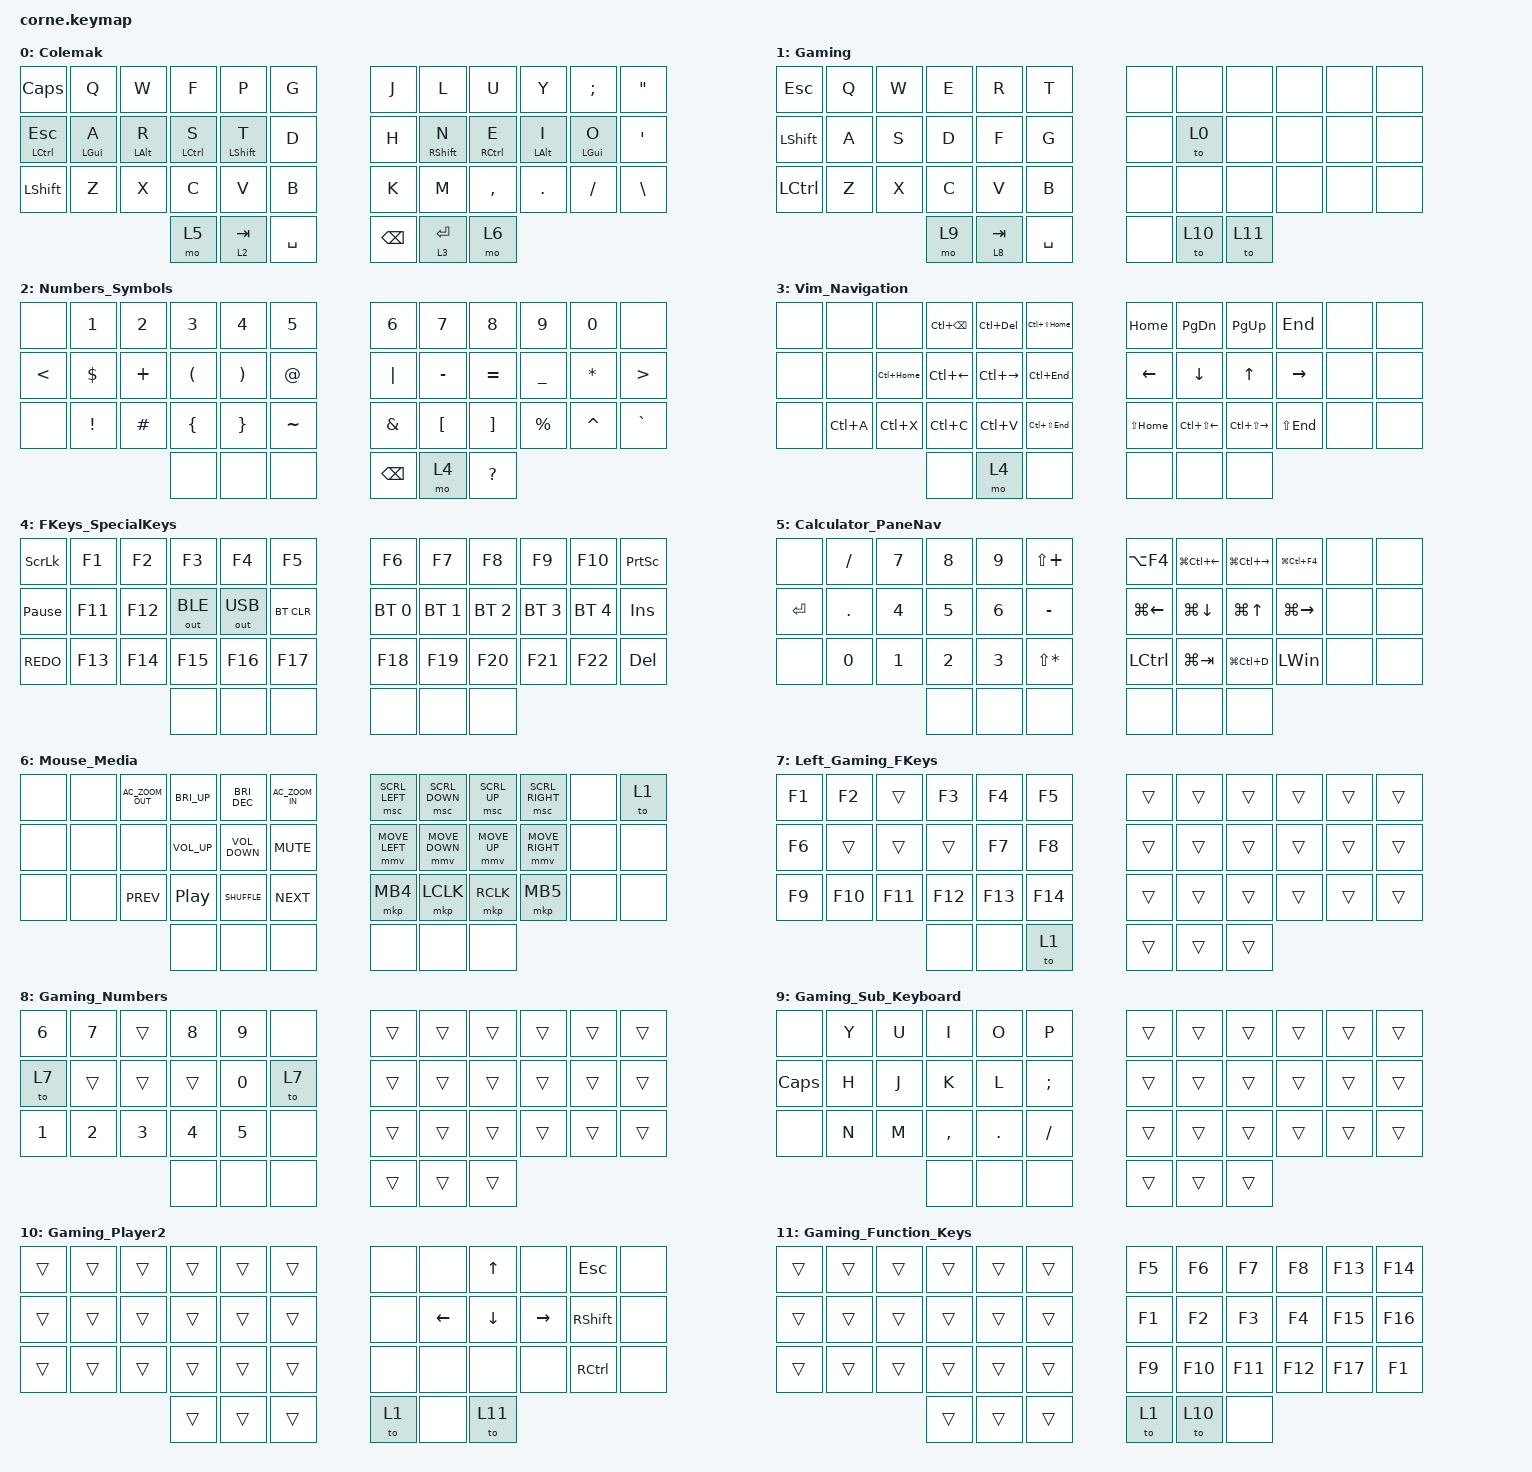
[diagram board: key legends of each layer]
/*
 * Copyright (c) 2020 The ZMK Contributors
 *
 * SPDX-License-Identifier: MIT
 */

#define ZMK_POINTING_DEFAULT_MOVE_VAL 1500  // default: 600
#define ZMK_POINTING_DEFAULT_SCRL_VAL 20    // default: 10

#include <behaviors.dtsi>
#include <dt-bindings/zmk/bt.h>
#include <dt-bindings/zmk/keys.h>
#include <dt-bindings/zmk/outputs.h>
#include <dt-bindings/zmk/pointing.h>

/ {
    behaviors {
        GamingNumber: GamingNumber {
            compatible = "zmk,behavior-hold-tap";
            label = "GAMINGNUMBER";
            bindings = <&mo>, <&kp>;

            #binding-cells = <2>;
            tapping-term-ms = <200>;
            hold-trigger-key-positions = <0 1 0 1 3 4 5 12 16 17 24 25 26 27 28 29>;
        };

        hml: hml {
            compatible = "zmk,behavior-hold-tap";
            label = "HML";
            bindings = <&kp>, <&kp>;

            #binding-cells = <2>;
            tapping-term-ms = <280>;
            quick-tap-ms = <175>;
            require-prior-idle-ms = <150>;
            flavor = "balanced";
            hold-trigger-key-positions = <6 7 8 9 10 11 18 19 20 21 22 23 30 31 32 33 34 35 39 40 41 36 37 38>;
            hold-trigger-on-release;
        };

        hmr: hmr {
            compatible = "zmk,behavior-hold-tap";
            label = "HMR";
            bindings = <&kp>, <&kp>;

            #binding-cells = <2>;
            tapping-term-ms = <280>;
            quick-tap-ms = <175>;
            require-prior-idle-ms = <150>;
            flavor = "balanced";
            hold-trigger-on-release;
            hold-trigger-key-positions = <36 37 38 39 40 41 0 1 2 3 4 5 12 13 14 15 16 17 24 25 26 27 28 29>;
        };
    };

    keymap {
        compatible = "zmk,keymap";

        Colemak {
            // -----------------------------------------------------------------------------------------
            // |  TAB |  Q  |  W  |  E  |  R  |  T  |   |  Y  |  U   |  I  |  O  |  P  | BKSP |
            // | CTRL |  A  |  S  |  D  |  F  |  G  |   |  H  |  J   |  K  |  L  |  ;  |  '   |
            // | SHFT |  Z  |  X  |  C  |  V  |  B  |   |  N  |  M   |  ,  |  .  |  /  | ESC  |
            //                    | GUI | LWR | SPC |   | ENT | RSE  | ALT |

            bindings = <
&kp CAPS        &kp Q        &kp W        &kp F         &kp P         &kp G        &kp J     &kp L         &kp U         &kp Y        &kp SEMI     &kp DOUBLE_QUOTES
&mt LCTRL ESC   &hml LGUI A  &hml LALT R  &hml LCTRL S  &hml LSHFT T  &kp D        &kp H     &hmr RSHFT N  &hmr RCTRL E  &hmr LALT I  &hmr LGUI O  &kp SQT
&kp LEFT_SHIFT  &kp Z        &kp X        &kp C         &kp V         &kp B        &kp K     &kp M         &kp COMMA     &kp DOT      &kp FSLH     &kp BACKSLASH
                                          &mo 5         &lt 2 TAB     &kp SPACE    &kp BSPC  &lt 3 ENTER   &mo 6
            >;
        };

        Gaming {
            bindings = <
&kp ESC    &kp Q  &kp W  &kp E  &kp R                &kp T        &none  &none   &none   &none  &none  &none
&kp LSHFT  &kp A  &kp S  &kp D  &kp F                &kp G        &none  &to 0   &none   &none  &none  &none
&kp LCTRL  &kp Z  &kp X  &kp C  &kp V                &kp B        &none  &none   &none   &none  &none  &none
                         &mo 9  &GamingNumber 8 TAB  &kp SPACE    &none  &to 10  &to 11
            >;
        };

        Numbers_Symbols {
            bindings = <
&none          &kp N1           &kp N2    &kp N3                &kp N4                 &kp N5         &kp N6         &kp N7     &kp N8        &kp N9          &kp N0        &none
&kp LESS_THAN  &kp DOLLAR       &kp PLUS  &kp LEFT_PARENTHESIS  &kp RIGHT_PARENTHESIS  &kp AT_SIGN    &kp PIPE       &kp MINUS  &kp EQUAL     &kp UNDERSCORE  &kp ASTERISK  &kp GREATER_THAN
&none          &kp EXCLAMATION  &kp HASH  &kp LEFT_BRACE        &kp RIGHT_BRACE        &kp TILDE      &kp AMPERSAND  &kp LBKT   &kp RBKT      &kp PERCENT     &kp CARET     &kp GRAVE
                                          &none                 &none                  &none          &kp BACKSPACE  &mo 4      &kp QUESTION
            >;
        };

        Vim_Navigation {
            bindings = <
&none  &none      &none         &kp LC(BSPC)  &kp LC(DEL)    &kp LC(LS(HOME))    &kp HOME      &kp PG_DN         &kp PG_UP          &kp END      &none  &none
&none  &none      &kp LC(HOME)  &kp LC(LEFT)  &kp LC(RIGHT)  &kp LC(END)         &kp LEFT      &kp DOWN          &kp UP             &kp RIGHT    &none  &none
&none  &kp LC(A)  &kp LC(X)     &kp LC(C)     &kp LC(V)      &kp LC(LS(END))     &kp LS(HOME)  &kp LC(LS(LEFT))  &kp LC(LS(RIGHT))  &kp LS(END)  &none  &none
                                &none         &mo 4          &none               &none         &none             &none
            >;
        };

        FKeys_SpecialKeys {
            bindings = <
&kp SCROLLLOCK   &kp F1   &kp F2   &kp F3        &kp F4        &kp F5        &kp F6        &kp F7        &kp F8        &kp F9        &kp F10       &kp PRINTSCREEN
&kp PAUSE_BREAK  &kp F11  &kp F12  &out OUT_BLE  &out OUT_USB  &bt BT_CLR    &bt BT_SEL 0  &bt BT_SEL 1  &bt BT_SEL 2  &bt BT_SEL 3  &bt BT_SEL 4  &kp INSERT
&kp K_REDO       &kp F13  &kp F14  &kp F15       &kp F16       &kp F17       &kp F18       &kp F19       &kp F20       &kp F21       &kp F22       &kp DELETE
                                   &none         &none         &none         &none         &none         &none
            >;
        };

        Calculator_PaneNav {
            bindings = <
&none      &kp FSLH  &kp N7  &kp N8  &kp N9  &kp LS(PLUS)    &kp LA(F4)    &kp LG(LC(LEFT))  &kp LG(LC(RIGHT))  &kp LG(LC(F4))  &none  &none
&kp ENTER  &kp DOT   &kp N4  &kp N5  &kp N6  &kp MINUS       &kp LG(LEFT)  &kp LG(DOWN)      &kp LG(UP)         &kp LG(RIGHT)   &none  &none
&none      &kp N0    &kp N1  &kp N2  &kp N3  &kp LS(STAR)    &kp LCTRL     &kp LG(TAB)       &kp LG(LC(D))      &kp LEFT_WIN    &none  &none
                             &none   &none   &none           &none         &none             &none
            >;
        };

        Mouse_Media {
            bindings = <
&none  &none  &kp C_AC_ZOOM_OUT  &kp C_BRI_UP      &kp C_BRI_DEC      &kp C_AC_ZOOM_IN    &msc SCRL_LEFT  &msc SCRL_DOWN  &msc SCRL_UP  &msc SCRL_RIGHT  &none  &to 1
&none  &none  &none              &kp C_VOLUME_UP   &kp C_VOLUME_DOWN  &kp C_MUTE          &mmv MOVE_LEFT  &mmv MOVE_DOWN  &mmv MOVE_UP  &mmv MOVE_RIGHT  &none  &none
&none  &none  &kp C_PREV         &kp C_PLAY_PAUSE  &kp C_SHUFFLE      &kp C_NEXT          &mkp MB4        &mkp LCLK       &mkp RCLK     &mkp MB5         &none  &none
                                 &none             &none              &none               &none           &none           &none
            >;
        };

        Left_Gaming_FKeys {
            bindings = <
&kp F1  &kp F2   &trans   &kp F3   &kp F4   &kp F5     &trans  &trans  &trans  &trans  &trans  &trans
&kp F6  &trans   &trans   &trans   &kp F7   &kp F8     &trans  &trans  &trans  &trans  &trans  &trans
&kp F9  &kp F10  &kp F11  &kp F12  &kp F13  &kp F14    &trans  &trans  &trans  &trans  &trans  &trans
                          &none    &none    &to 1      &trans  &trans  &trans
            >;
        };

        Gaming_Numbers {
            bindings = <
&kp N6  &kp N7  &trans  &kp N8  &kp N9  &none    &trans  &trans  &trans  &trans  &trans  &trans
&to 7   &trans  &trans  &trans  &kp N0  &to 7    &trans  &trans  &trans  &trans  &trans  &trans
&kp N1  &kp N2  &kp N3  &kp N4  &kp N5  &none    &trans  &trans  &trans  &trans  &trans  &trans
                        &none   &none   &none    &trans  &trans  &trans
            >;
        };

        Gaming_Sub_Keyboard {
            bindings = <
&none     &kp Y  &kp U  &kp I      &kp O    &kp P       &trans  &trans  &trans  &trans  &trans  &trans
&kp CAPS  &kp H  &kp J  &kp K      &kp L    &kp SEMI    &trans  &trans  &trans  &trans  &trans  &trans
&none     &kp N  &kp M  &kp COMMA  &kp DOT  &kp FSLH    &trans  &trans  &trans  &trans  &trans  &trans
                        &none      &none    &none       &trans  &trans  &trans
            >;
        };

        Gaming_Player2 {
            bindings = <
&trans  &trans  &trans  &trans  &trans  &trans    &none  &none     &kp UP    &none      &kp ESC    &none
&trans  &trans  &trans  &trans  &trans  &trans    &none  &kp LEFT  &kp DOWN  &kp RIGHT  &kp RSHFT  &none
&trans  &trans  &trans  &trans  &trans  &trans    &none  &none     &none     &none      &kp RCTRL  &none
                        &trans  &trans  &trans    &to 1  &none     &to 11
            >;
        };

        Gaming_Function_Keys {
            bindings = <
&trans  &trans  &trans  &trans  &trans  &trans    &kp F5  &kp F6   &kp F7   &kp F8   &kp F13  &kp F14
&trans  &trans  &trans  &trans  &trans  &trans    &kp F1  &kp F2   &kp F3   &kp F4   &kp F15  &kp F16
&trans  &trans  &trans  &trans  &trans  &trans    &kp F9  &kp F10  &kp F11  &kp F12  &kp F17  &kp F1
                        &trans  &trans  &trans    &to 1   &to 10   &none
            >;
        };
    };

    conditional_layers { compatible = "zmk,conditional-layers"; };
};
